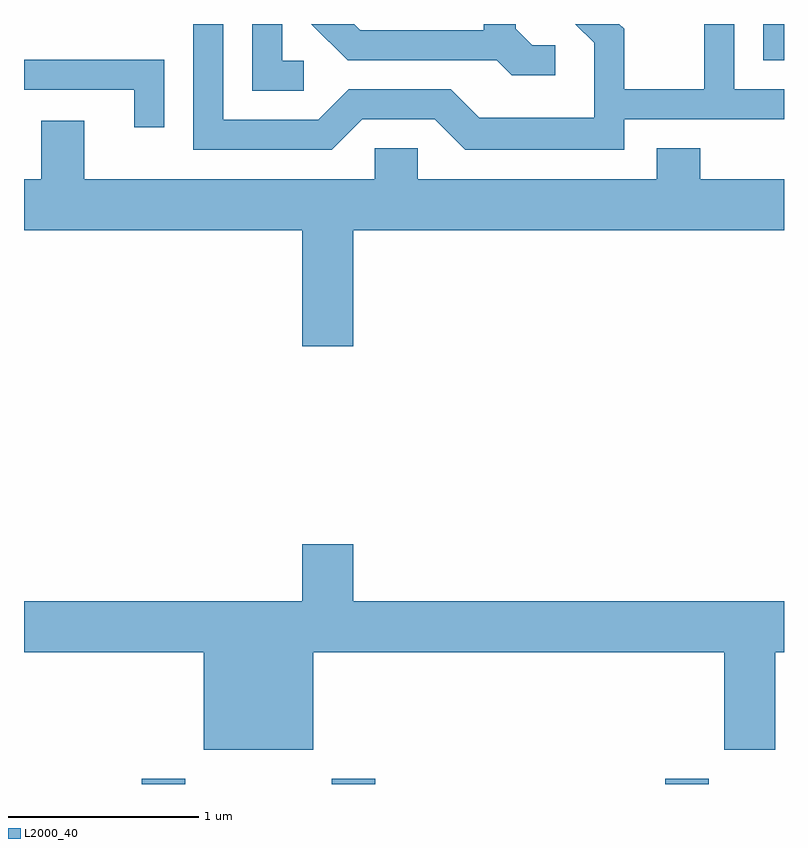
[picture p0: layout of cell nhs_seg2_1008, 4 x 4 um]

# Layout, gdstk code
import gdstk
lib = gdstk.Library(unit=1e-6, precision=1e-09)
def R(c, l, rs):  # rectangles x0, y0, x1, y1
    for r in rs: c.add(gdstk.rectangle(r[:2], r[2:], *l))
def P(c, l, *ps):  # polygons
    for p in ps: c.add(gdstk.Polygon(p, *l))
L2000_40 = (2000, 40)

nhs_seg2_1008 = lib.new_cell('nhs_seg2_1008')
R(nhs_seg2_1008, L2000_40, [(214.231,1089.802,214.459,1089.829), (215.231,1089.802,215.459,1089.829), (216.986,1089.802,217.214,1089.829), (217.501,1093.611,217.611,1093.802)])
P(nhs_seg2_1008, L2000_40, [(216.408,1093.689),(216.287,1093.689),(216.199,1093.777),(216.199,1093.802),(216.031,1093.802),(216.031,1093.769),(215.382,1093.769),(215.349,1093.802),(215.123,1093.802),(215.314,1093.611),(216.099,1093.611),(216.179,1093.531),(216.408,1093.531)],
  [(215.392,1093.301),(215.774,1093.301),(215.934,1093.141),(216.769,1093.141),(216.769,1093.301),(217.611,1093.301),(217.611,1093.459),(217.349,1093.459),(217.349,1093.802),(217.191,1093.802),(217.191,1093.459),(216.769,1093.459),(216.769,1093.777),(216.744,1093.802),(216.513,1093.802),(216.611,1093.704),(216.611,1093.309),(216.007,1093.309),(215.857,1093.459),(215.319,1093.459),(215.159,1093.299),(214.659,1093.299),(214.659,1093.802),(214.501,1093.802),(214.501,1093.141),(215.232,1093.141)],
  [(215.083,1093.609),(214.969,1093.609),(214.969,1093.802),(214.811,1093.802),(214.811,1093.451),(215.083,1093.451)],
  [(214.349,1093.614),(213.611,1093.614),(213.611,1093.456),(214.191,1093.456),(214.191,1093.258),(214.349,1093.258)],
  [(215.344,1092.716),(217.611,1092.716),(217.611,1092.984),(217.169,1092.984),(217.169,1093.149),(216.941,1093.149),(216.941,1092.984),(215.684,1092.984),(215.684,1093.149),(215.456,1093.149),(215.456,1092.984),(213.929,1092.984),(213.929,1093.294),(213.701,1093.294),(213.701,1092.984),(213.611,1092.984),(213.611,1092.716),(215.076,1092.716),(215.076,1092.106),(215.344,1092.106)],
  [(215.134,1090.496),(217.296,1090.496),(217.296,1089.981),(217.564,1089.981),(217.564,1090.496),(217.611,1090.496),(217.611,1090.764),(215.344,1090.764),(215.344,1091.064),(215.076,1091.064),(215.076,1090.764),(213.611,1090.764),(213.611,1090.496),(214.556,1090.496),(214.556,1089.981),(215.134,1089.981)])

lib.write_gds('nhs_seg2_1008.gds')
